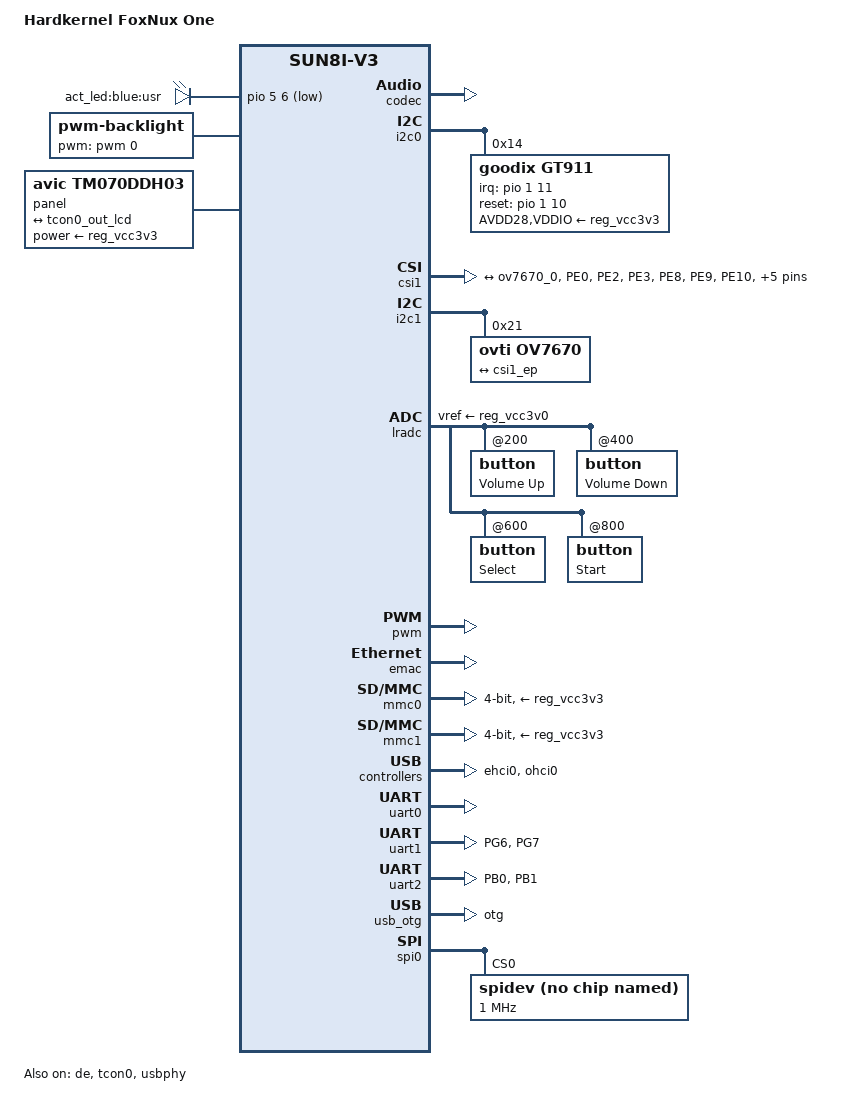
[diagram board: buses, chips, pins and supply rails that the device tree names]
// SPDX-License-Identifier: (GPL-2.0+ OR MIT)
/*
 * Copyright (C) 2019 Icenowy Zheng <icenowy@aosc.io>
 */

/dts-v1/;
#include "sun8i-v3.dtsi"
#include "sunxi-common-regulators.dtsi"
#include <dt-bindings/gpio/gpio.h>
#include <dt-bindings/input/input.h>

/ {
	model = "Hardkernel FoxNux One";
	compatible = "hardkernel,foxnux-one", "sochip,s3",
		     "allwinner,sun8i-v3";

	aliases {
		serial0 = &uart0;
		ethernet0 = &emac;
	};

	chosen {
		stdout-path = "serial0:115200n8";
	};

	leds {
        	compatible = "gpio-leds";
	        act_led {
	                label = "act_led:blue:usr";
	                gpios = <&pio 5 6 GPIO_ACTIVE_LOW>; // PF6 5 6 active_low 
	                linux,default-trigger = "mmc0";
	                default-state = "on";
	        };
	};

	backlight: backlight {
		compatible = "pwm-backlight";
		pwms = <&pwm 0 1000000 1>;
		brightness-levels = <0 30 40 50 60 70 100>;
		default-brightness-level = <6>;
	};

	panel: panel {
		#address-cells = <1>;
		#size-cells = <0>;
		#compatible = "urt,umsh-8596md-t", "simple-panel";
		compatible = "avic,tm070ddh03", "simple-panel";
		power-supply = <&reg_vcc3v3>;
		port@0 {
			reg = <0>;
			backlight = <&backlight>;
			#address-cells = <1>;
			#size-cells = <0>;
			panel_input: endpoint@0 {
				reg = <0>;
				remote-endpoint = <&tcon0_out_lcd>;
			};
		};
	};
};

&codec {
	allwinner,audio-routing =
		"Headphone", "HP",
		"Headphone", "HPCOM";
	status = "okay";
};

&de {
	status = "okay";
};

&i2c0 {
	status = "okay";

	gt911: touchscreen@14 {
        compatible = "goodix,gt911";
        reg = <0x14>;
        interrupt-parent = <&pio>;
        interrupts = <1 11 IRQ_TYPE_EDGE_FALLING>; /* (PB11) */
        pinctrl-names = "default";
        irq-gpios = <&pio 1 11 GPIO_ACTIVE_HIGH>; /* (PB11) */
        reset-gpios = <&pio 1 10 GPIO_ACTIVE_HIGH>; /* RST (PB10) */
	AVDD28-supply = <&reg_vcc3v3>; 
	VDDIO-supply = <&reg_vcc3v3>;
    };
};

&csi1 {
	status = "okay";
	pinctrl-names = "default";
	pinctrl-0 = <&csi1_clk &csi1_8bit>;

	port {
		csi1_ep: endpoint {
			remote-endpoint = <&ov7670_0>;
			bus-width = <8>;
			data-shift = <0>;	
			/* If hsync-active/vsync-active are missing,
			   embedded BT.656 sync is used */
			hsync-active = <0>;	/* Active low */
			vsync-active = <1>;	/* Active high */
			data-active = <1>; 	/* Active high */
			pclk-sample = <1>;	/* Rising */ 
		};
	};
};

&i2c1 {
    	pinctrl-0 = <&i2c1_pins>;
	pinctrl-names = "default";
	status = "okay";

	ov7670: camera@21 {
		compatible = "ovti,ov7670";
		reg = <0x21>;
		pinctrl-names = "default";
		pinctrl-0 = <&csi1_mclk>;
		clocks = <&ccu CLK_CSI1_MCLK>;
		clock-names = "xclk";
		assigned-clock-rates = <24000000>;
		port {
			ov7670_0: endpoint {
				remote-endpoint = <&csi1_ep>;
				bus-width = <8>;
				hsync-active = <1>;	/* Active high */
				vsync-active = <1>;	/* Active high */
				data-active = <1>;  	/* Active high */
				pclk-sample = <1>;	/* Rising */
			};
		};
	};
};

&lradc {
	vref-supply = <&reg_vcc3v0>;
	status = "okay";

	button@200 {
		label = "Volume Up";
		linux,code = <KEY_VOLUMEUP>;
		channel = <0>;
		voltage = <200000>;
	};

	button@400 {
		label = "Volume Down";
		linux,code = <KEY_VOLUMEDOWN>;
		channel = <0>;
		voltage = <400000>;
	};

	button@600 {
		label = "Select";
		linux,code = <KEY_SELECT>;
		channel = <0>;
		voltage = <600000>;
	};

	button@800 {
		label = "Start";
		linux,code = <KEY_OK>;
		channel = <0>;
		voltage = <800000>;
	};
};

&pwm {
	pinctrl-names = "default";
	pinctrl-0 = <&pwm0_pins>;
	status = "okay";
};

&tcon0 {
	pinctrl-names = "default";
	pinctrl-0 = <&lcd_rgb666_pins_a>;
	status = "okay";
};

&tcon0_out {
	tcon0_out_lcd: endpoint@0 {
		reg = <0>;
		remote-endpoint = <&panel_input>;
	};
};

&emac {
	allwinner,leds-active-low;
	status = "okay";
};

&mmc0 {
	broken-cd;
	bus-width = <4>;
	vmmc-supply = <&reg_vcc3v3>;
	status = "okay";
};

&mmc1 {
	broken-cd;
	bus-width = <4>;
	vmmc-supply = <&reg_vcc3v3>;
	status = "okay";
};

&ehci0 {
        status = "okay";
};

&ohci0 {
	status = "okay";
};

&uart0 {
	pinctrl-0 = <&uart0_pb_pins>;
	pinctrl-names = "default";
	status = "okay";
};

&uart1 {
	pinctrl-0 = <&uart1_pg_pins>;
	pinctrl-names = "default";
	status = "okay";
};

&uart2 {
        pinctrl-0 = <&uart2_pb_pins>;
        pinctrl-names = "default";
        status = "okay";
};

&usb_otg {
	dr_mode = "otg";
	status = "okay";
};

&usbphy {
	usb0_id_det-gpios = <&pio 2 10 GPIO_ACTIVE_HIGH>; // Assign a unused GPIO as a dummy.
	//usb0_id_det-gpios = <&pio 5 6 GPIO_ACTIVE_HIGH>;
	status = "okay";
};

&spi0 {
	pinctrl-names = "default"; 
	pinctrl-0 = <&spi0_pins>; 
	status = "okay";
	#address-cells = <1>;
	#size-cells = <0>;
	spidev@0{
		compatible = "rohm,dh2228fv";
		reg = <0>;
		spi-max-frequency = <1000000>;
	};
};

&pio {
	vcc-pb-supply = <&reg_vcc3v3>;
	vcc-pc-supply = <&reg_vcc3v3>;
	vcc-pd-supply = <&reg_vcc3v3>;
	vcc-pe-supply = <&reg_vcc3v3>;
	vcc-pf-supply = <&reg_vcc3v3>;
	vcc-pg-supply = <&reg_vcc3v3>;

	csi1_8bit: csi1-8bit@0 {
		pins = "PE8","PE9","PE10","PE11","PE12","PE13","PE14","PE15";
		bias-pulldown;
		function = "csi";
    	};

	csi1_clk: csi1-clk@0 {
		pins = "PE0","PE2","PE3";
		bias-disable;
		function = "csi";
    	};

 	csi1_mclk: csi1-mclk@0 {
		pins = "PE1";
		bias-disable;
		function = "csi";
    	};

	uart1_pg_pins: uart1-pg-pins {
		pins = "PG6", "PG7";
		function = "uart1";
	};

	uart2_pb_pins: uart1-pb-pins {
		pins = "PB0", "PB1";
		function = "uart2";
	};
};

&reg_vcc5v0 {
	status = "disabled";
};
